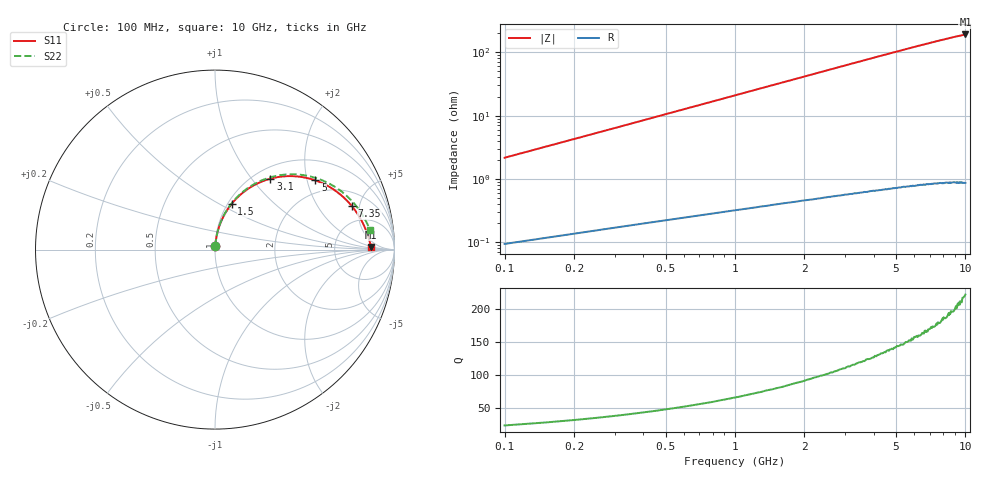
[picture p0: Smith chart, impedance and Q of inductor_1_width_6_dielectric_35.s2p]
# GHZ S MA R 50.00000
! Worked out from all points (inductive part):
!   199 points, 100 MHz to 10 GHz, reference 50 ohm
!   read as one part in series: L = 3.41 nH near 100 MHz
!   highest Q = 221 at 10 GHz (marker M1), where L = 3.04 nH
!   S11 on the Smith chart (normalised r, x): 100 MHz: 1.00, +0.04; 1.5 GHz: 1.04, +0.58; 3.1 GHz: 1.18, +1.25; 5 GHz: 1.57, +2.25; 7.35 GHz: 3.15, +4.23; 10 GHz: 14, +2
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0.1  0.01969 85.9  0.9989 -1.3  0.9989 -1.3  0.01969 85.9
0.15  0.02923 85.7  0.9984 -2.0  0.9984 -2.0  0.02923 85.7
0.2  0.03873 85.3  0.9979 -2.7  0.9979 -2.7  0.03873 85.4
0.25  0.04819 84.8  0.9973 -3.3  0.9973 -3.3  0.04819 84.9
0.35  0.06701 83.8  0.9959 -4.6  0.9959 -4.6  0.06701 83.9
0.5  0.09501 82.1  0.9932 -6.5  0.9932 -6.5  0.09501 82.2
0.7  0.1319 79.7  0.9886 -9.1  0.9886 -9.1  0.1319 79.9
0.9  0.1681 77.2  0.9828 -11.6  0.9828 -11.6  0.1681 77.5
1.2  0.2211 73.6  0.9718 -15.4  0.9718 -15.4  0.2211 73.9
1.5  0.272 69.9  0.9584 -19.1  0.9584 -19.1  0.272 70.4
1.75  0.3127 67.0  0.9457 -22.1  0.9457 -22.1  0.3127 67.5
2.35  0.4032 60.1  0.9104 -28.9  0.9104 -28.9  0.4032 60.8
3.1  0.5012 52.0  0.8602 -36.9  0.8602 -36.9  0.5012 53.0
3.4  0.5357 49.0  0.8392 -39.9  0.8392 -39.9  0.5357 50.1
4.15  0.6109 41.9  0.7862 -46.9  0.7862 -46.9  0.6109 43.3
5  0.6792 34.6  0.7281 -54.0  0.7281 -54.0  0.6792 36.4
5.05  0.6827 34.2  0.7248 -54.4  0.7248 -54.4  0.6828 36.1
5.85  0.7329 28.0  0.6743 -60.5  0.6743 -60.5  0.7329 30.3
6.7  0.7749 21.9  0.6258 -66.3  0.6258 -66.3  0.7751 24.8
7.35  0.8009 17.5  0.5923 -70.5  0.5923 -70.5  0.8011 20.9
8.35  0.8326 11.1  0.5469 -76.4  0.5469 -76.4  0.833 15.4
10  0.869 1.0  0.4867 -85.6  0.4867 -85.6  0.8698 7.3
